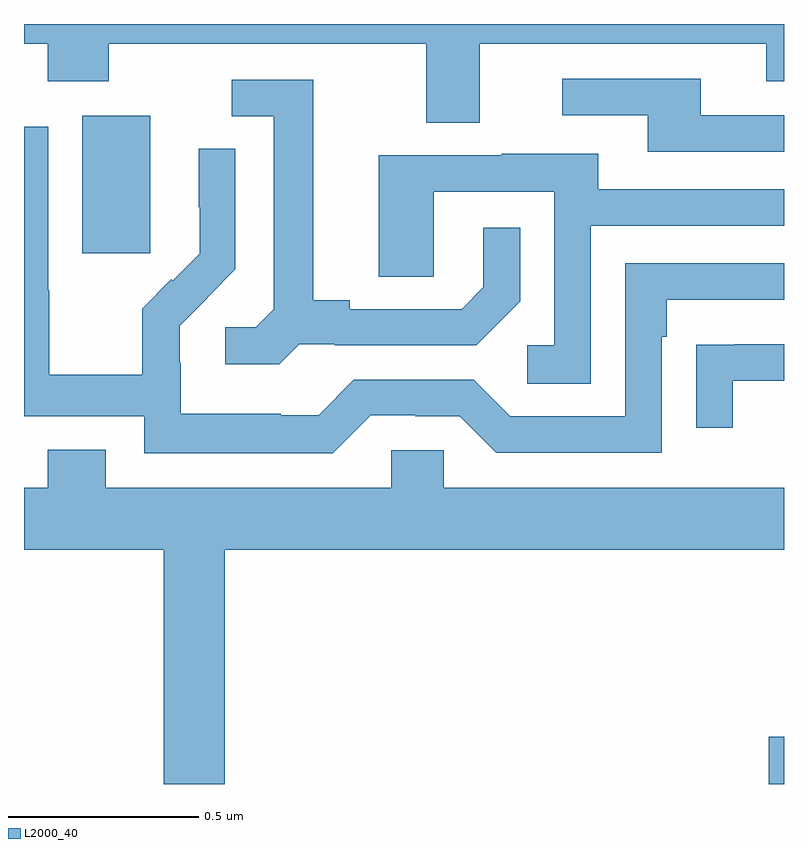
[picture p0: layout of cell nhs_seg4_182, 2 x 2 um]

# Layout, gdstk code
import gdstk
lib = gdstk.Library(unit=1e-6, precision=1e-09)
def R(c, l, rs):  # rectangles x0, y0, x1, y1
    for r in rs: c.add(gdstk.rectangle(r[:2], r[2:], *l))
def P(c, l, *ps):  # polygons
    for p in ps: c.add(gdstk.Polygon(p, *l))
L2000_40 = (2000, 40)

nhs_seg4_182 = lib.new_cell('nhs_seg4_182')
R(nhs_seg4_182, L2000_40, [(114.96,766.9,115,767.024), (113.153,768.297,113.332,768.658)])
P(nhs_seg4_182, L2000_40, [(114.199,768.848),(114.953,768.848),(114.953,768.749),(115,768.749),(115,768.9),(113,768.9),(113,768.848),(113.063,768.848),(113.063,768.749),(113.223,768.749),(113.223,768.848),(114.059,768.848),(114.059,768.64),(114.199,768.64)],
  [(115,768.66),(114.781,768.66),(114.781,768.756),(114.417,768.756),(114.417,768.66),(114.641,768.66),(114.641,768.564),(115,768.564)],
  [(113.724,768.057),(113.818,768.057),(113.818,768.054),(114.19,768.054),(114.306,768.17),(114.306,768.364),(114.209,768.364),(114.209,768.207),(114.152,768.15),(113.857,768.15),(113.857,768.173),(113.761,768.173),(113.761,768.753),(113.547,768.753),(113.547,768.657),(113.657,768.657),(113.657,768.149),(113.61,768.102),(113.529,768.102),(113.529,768.005),(113.672,768.005)],
  [(113.913,767.871),(114.029,767.871),(114.029,767.868),(114.147,767.868),(114.243,767.772),(114.678,767.772),(114.678,768.077),(114.691,768.077),(114.691,768.174),(115,768.174),(115,768.27),(114.582,768.27),(114.582,767.868),(114.279,767.868),(114.183,767.964),(113.868,767.964),(113.775,767.871),(113.675,767.871),(113.675,767.875),(113.412,767.875),(113.412,768.009),(113.41,768.009),(113.41,768.106),(113.484,768.18),(113.483,768.181),(113.556,768.254),(113.556,768.572),(113.46,768.572),(113.46,768.418),(113.462,768.418),(113.462,768.296),(113.391,768.225),(113.388,768.228),(113.311,768.151),(113.311,767.977),(113.067,767.977),(113.067,768.2),(113.064,768.2),(113.064,768.63),(113,768.63),(113,767.868),(113.316,767.868),(113.316,767.771),(113.813,767.771)],
  [(114.492,768.369),(115,768.369),(115,768.465),(114.511,768.465),(114.511,768.559),(114.257,768.559),(114.257,768.555),(113.933,768.555),(113.933,768.235),(114.078,768.235),(114.078,768.459),(114.396,768.459),(114.396,768.054),(114.324,768.054),(114.324,767.953),(114.492,767.953)],
  [(114.865,767.961),(115,767.961),(115,768.057),(114.871,768.057),(114.871,768.056),(114.769,768.056),(114.769,767.838),(114.865,767.838)],
  [(113.528,767.516),(115,767.516),(115,767.68),(114.105,767.68),(114.105,767.778),(113.967,767.778),(113.967,767.68),(113.215,767.68),(113.215,767.779),(113.063,767.779),(113.063,767.68),(113,767.68),(113,767.516),(113.368,767.516),(113.368,766.9),(113.528,766.9)])

lib.write_gds('nhs_seg4_182.gds')
